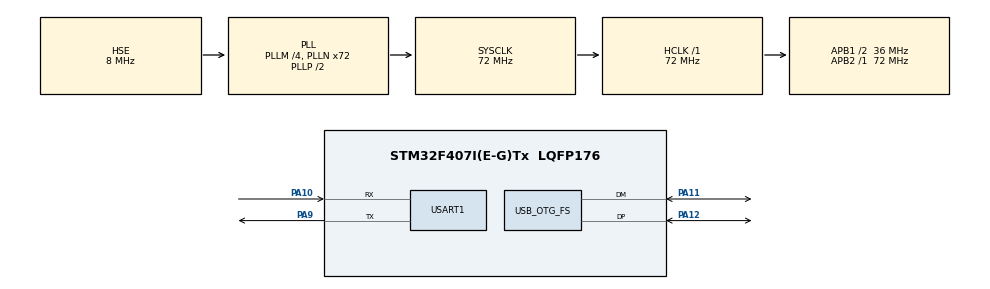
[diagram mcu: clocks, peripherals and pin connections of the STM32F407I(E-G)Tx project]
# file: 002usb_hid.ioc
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Mcu.Family=STM32F4
USB_DEVICE.CLASS_NAME_FS=CUSTOM_HID
PH0-OSC_IN.Signal=RCC_OSC_IN
RCC.CortexFreq_Value=72000000
PA10.Mode=Asynchronous
USB_DEVICE.VirtualModeFS=Custom_Hid_FS
VP_USB_DEVICE_VS_USB_DEVICE_CUSTOM_HID_FS.Mode=CUSTOM_HID_FS
PA11.Mode=Device_Only
RCC.APB1CLKDivider=RCC_HCLK_DIV2
RCC.SYSCLKSource=RCC_SYSCLKSOURCE_PLLCLK
ProjectManager.StackSize=0x400
PA9.Mode=Asynchronous
PA12.Signal=USB_OTG_FS_DP
ProjectManager.TargetToolchain=STM32CubeIDE
RCC.HCLKFreq_Value=72000000
RCC.APB2TimFreq_Value=72000000
PA9.Signal=USART1_TX
RCC.LSE_VALUE=32768
RCC.AHBFreq_Value=72000000
PH0-OSC_IN.Mode=HSE-External-Oscillator
RCC.HSE_VALUE=8000000
board=custom
RCC.VCOOutputFreq_Value=144000000
RCC.APB2Freq_Value=72000000
PH1-OSC_OUT.Signal=RCC_OSC_OUT
Mcu.Name=STM32F407I(E-G)Tx
RCC.48MHZClocksFreq_Value=48000000
PH1-OSC_OUT.Mode=HSE-External-Oscillator
RCC.SYSCLKFreq_VALUE=72000000
Mcu.Package=LQFP176
PA12.Mode=Device_Only
USB_DEVICE.VirtualMode-CUSTOM_HID_FS=CustomHid
USB_DEVICE.USBD_CUSTOM_HID_REPORT_DESC_SIZE-CUSTOM_HID_FS=33
USART1.VirtualMode=VM_ASYNC
NVIC.OTG_FS_IRQn=true\:0\:0\:false\:false\:true\:false\:true
PA11.Signal=USB_OTG_FS_DM
PA10.Signal=USART1_RX
USB_OTG_FS.VirtualMode=Device_Only
ProjectManager.HeapSize=0x200
RCC.HSI_VALUE=16000000
RCC.PLLQ=3
NVIC.PriorityGroup=NVIC_PRIORITYGROUP_4
RCC.PLLM=4
RCC.PLLN=72
RCC.APB1TimFreq_Value=72000000
RCC.APB1Freq_Value=36000000

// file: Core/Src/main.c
/* USER CODE BEGIN Header */
/**
  ******************************************************************************
  * @file           : main.c
  * @brief          : Main program body
  ******************************************************************************
  * @attention
  *
  * <h2><center>&copy; Copyright (c) 2021 STMicroelectronics.
  * All rights reserved.</center></h2>
  *
  * This software component is licensed by ST under BSD 3-Clause license,
  * the "License"; You may not use this file except in compliance with the
  * License. You may obtain a copy of the License at:
  *                        opensource.org/licenses/BSD-3-Clause
  *
  ******************************************************************************
  */
/* USER CODE END Header */
#include "main.h"
#include "usb_device.h"

/* USER CODE BEGIN Includes */
#include "uart_task.h"
#include "usbd_customhid.h"
/* USER CODE END Includes */

UART_HandleTypeDef huart1;

/* USER CODE BEGIN PV */
extern USBD_HandleTypeDef hUsbDeviceFS;
uint8_t USB_RX_Buffer[64];
uint8_t USB_TX_Buffer[64]; //to PC
/* USER CODE END PV */

void SystemClock_Config(void);
static void MX_GPIO_Init(void);
static void MX_USART1_UART_Init(void);

int main(void)
{

  /* MCU Configuration--------------------------------------------------------*/

  /* Reset of all peripherals, Initializes the Flash interface and the Systick. */
  HAL_Init();

  /* Configure the system clock */
  SystemClock_Config();

  /* Initialize all configured peripherals */
  MX_GPIO_Init();
  MX_USB_DEVICE_Init();
  MX_USART1_UART_Init();

  /* Infinite loop */
  /* USER CODE BEGIN WHILE */
  while (1)
  {
	 if(USB_RX_Buffer[2] == 1) {
		 debugPrint(&huart1, "Task3\r\n");
	 } else if(USB_RX_Buffer[2] == 1) {
		 debugPrint(&huart1, "Task3\r\n");
	 } else if(USB_RX_Buffer[2] == 1) {
		 debugPrint(&huart1, "Task3\r\n");
	 } else if(USB_RX_Buffer[2] == 1) {
		 debugPrint(&huart1, "Task3\r\n");
	 } else {
		 debugPrint(&huart1, "Task4\r\n");
	 }
	 USBD_CUSTOM_HID_SendReport(&hUsbDeviceFS, USB_TX_Buffer, 64);

    /* USER CODE END WHILE */

  }
}

void SystemClock_Config(void)
{
  RCC_OscInitTypeDef RCC_OscInitStruct = {0};
  RCC_ClkInitTypeDef RCC_ClkInitStruct = {0};

  /** Configure the main internal regulator output voltage
  */
  __HAL_RCC_PWR_CLK_ENABLE();
  __HAL_PWR_VOLTAGESCALING_CONFIG(PWR_REGULATOR_VOLTAGE_SCALE1);
  /** Initializes the RCC Oscillators according to the specified parameters
  * in the RCC_OscInitTypeDef structure.
  */
  RCC_OscInitStruct.OscillatorType = RCC_OSCILLATORTYPE_HSE;
  RCC_OscInitStruct.HSEState = RCC_HSE_ON;
  RCC_OscInitStruct.PLL.PLLState = RCC_PLL_ON;
  RCC_OscInitStruct.PLL.PLLSource = RCC_PLLSOURCE_HSE;
  RCC_OscInitStruct.PLL.PLLM = 4;
  RCC_OscInitStruct.PLL.PLLN = 72;
  RCC_OscInitStruct.PLL.PLLP = RCC_PLLP_DIV2;
  RCC_OscInitStruct.PLL.PLLQ = 3;
  if (HAL_RCC_OscConfig(&RCC_OscInitStruct) != HAL_OK)
  {
    Error_Handler();
  }
  /** Initializes the CPU, AHB and APB buses clocks
  */
  RCC_ClkInitStruct.ClockType = RCC_CLOCKTYPE_HCLK|RCC_CLOCKTYPE_SYSCLK
                              |RCC_CLOCKTYPE_PCLK1|RCC_CLOCKTYPE_PCLK2;
  RCC_ClkInitStruct.SYSCLKSource = RCC_SYSCLKSOURCE_PLLCLK;
  RCC_ClkInitStruct.AHBCLKDivider = RCC_SYSCLK_DIV1;
  RCC_ClkInitStruct.APB1CLKDivider = RCC_HCLK_DIV2;
  RCC_ClkInitStruct.APB2CLKDivider = RCC_HCLK_DIV1;

  if (HAL_RCC_ClockConfig(&RCC_ClkInitStruct, FLASH_LATENCY_2) != HAL_OK)
  {
    Error_Handler();
  }
}

static void MX_USART1_UART_Init(void)
{

  huart1.Instance = USART1;
  huart1.Init.BaudRate = 115200;
  huart1.Init.WordLength = UART_WORDLENGTH_8B;
  huart1.Init.StopBits = UART_STOPBITS_1;
  huart1.Init.Parity = UART_PARITY_NONE;
  huart1.Init.Mode = UART_MODE_TX_RX;
  huart1.Init.HwFlowCtl = UART_HWCONTROL_NONE;
  huart1.Init.OverSampling = UART_OVERSAMPLING_16;
  if (HAL_UART_Init(&huart1) != HAL_OK)
  {
    Error_Handler();
  }

}

static void MX_GPIO_Init(void)
{

  /* GPIO Ports Clock Enable */
  __HAL_RCC_GPIOH_CLK_ENABLE();
  __HAL_RCC_GPIOA_CLK_ENABLE();

}

void Error_Handler(void)
{
  __disable_irq();
  while (1)
  {
  }
}

/************************ (C) COPYRIGHT STMicroelectronics *****END OF FILE****/
